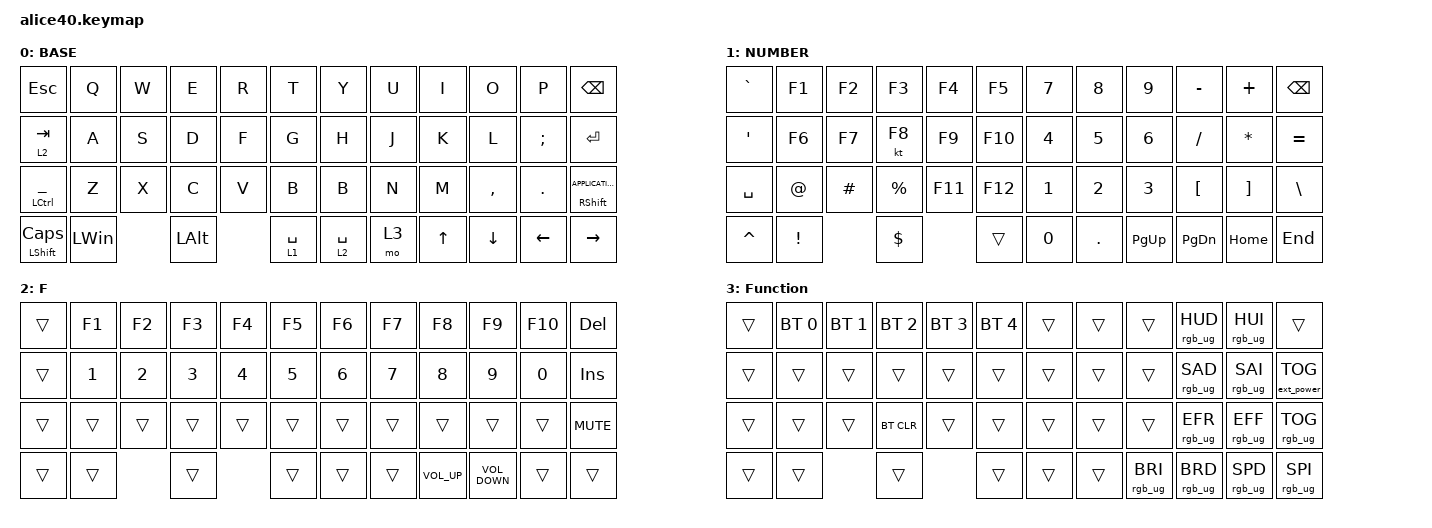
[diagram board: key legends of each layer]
#include <behaviors.dtsi>
#include <dt-bindings/zmk/bt.h>
#include <dt-bindings/zmk/ext_power.h>
#include <dt-bindings/zmk/keys.h>
#include <dt-bindings/zmk/keys.h>
#include <dt-bindings/zmk/rgb.h>

/ {
    keymap {
        compatible = "zmk,keymap";

        Base_layer {
            label = "BASE";
            bindings = <
&kp ESC               &kp Q         &kp W  &kp E         &kp R  &kp T        &kp Y        &kp U  &kp I   &kp O      &kp P          &kp BACKSPACE
&lt 2 TAB             &kp A         &kp S  &kp D         &kp F  &kp G        &kp H        &kp J  &kp K   &kp L      &kp SEMICOLON  &kp ENTER
&mt LCTRL UNDERSCORE  &kp Z         &kp X  &kp C         &kp V  &kp B        &kp B        &kp N  &kp M   &kp COMMA  &kp DOT        &mt RSHFT K_APPLICATION
&mt LSHIFT CAPS       &kp LEFT_WIN         &kp LEFT_ALT         &lt 1 SPACE  &lt 2 SPACE  &mo 3  &kp UP  &kp DOWN   &kp LEFT       &kp RIGHT
            >;
        };

        Number_layer {
            bindings = <
&kp GRAVE         &kp F1           &kp F2    &kp F3       &kp F4   &kp F5   &kp N7  &kp N8   &kp N9       &kp MINUS         &kp PLUS           &kp BACKSPACE
&kp SINGLE_QUOTE  &kp F6           &kp F7    &kt F8       &kp F9   &kp F10  &kp N4  &kp N5   &kp N6       &kp SLASH         &kp ASTERISK       &kp EQUAL
&kp SPACE         &kp AT_SIGN      &kp HASH  &kp PERCENT  &kp F11  &kp F12  &kp N1  &kp N2   &kp N3       &kp LEFT_BRACKET  &kp RIGHT_BRACKET  &kp BACKSLASH
&kp CARET         &kp EXCLAMATION            &kp DOLLAR            &trans   &kp N0  &kp DOT  &kp PAGE_UP  &kp PAGE_DOWN     &kp HOME           &kp END
            >;

            label = "NUMBER";
        };

        F_layer {
            bindings = <
&trans  &kp F1        &kp F2        &kp F3        &kp F4        &kp F5        &kp F6        &kp F7        &kp F8           &kp F9             &kp F10       &kp DELETE
&trans  &kp NUMBER_1  &kp NUMBER_2  &kp NUMBER_3  &kp NUMBER_4  &kp NUMBER_5  &kp NUMBER_6  &kp NUMBER_7  &kp NUMBER_8     &kp NUMBER_9       &kp NUMBER_0  &kp INSERT
&trans  &trans        &trans        &trans        &trans        &trans        &trans        &trans        &trans           &trans             &trans        &kp K_MUTE
&trans  &trans                      &trans                      &trans        &trans        &trans        &kp C_VOLUME_UP  &kp C_VOLUME_DOWN  &trans        &trans
            >;

            label = "F";
        };

        Function_layer {
            bindings = <
&trans  &bt BT_SEL 0  &bt BT_SEL 1  &bt BT_SEL 2  &bt BT_SEL 3  &bt BT_SEL 4  &trans  &trans  &trans           &rgb_ug RGB_HUD  &rgb_ug RGB_HUI  &trans
&trans  &trans        &trans        &trans        &trans        &trans        &trans  &trans  &trans           &rgb_ug RGB_SAD  &rgb_ug RGB_SAI  &ext_power EP_TOG
&trans  &trans        &trans        &bt BT_CLR    &trans        &trans        &trans  &trans  &trans           &rgb_ug RGB_EFR  &rgb_ug RGB_EFF  &rgb_ug RGB_TOG
&trans  &trans                      &trans                      &trans        &trans  &trans  &rgb_ug RGB_BRI  &rgb_ug RGB_BRD  &rgb_ug RGB_SPD  &rgb_ug RGB_SPI
            >;

            label = "Function";
        };
    };
};
